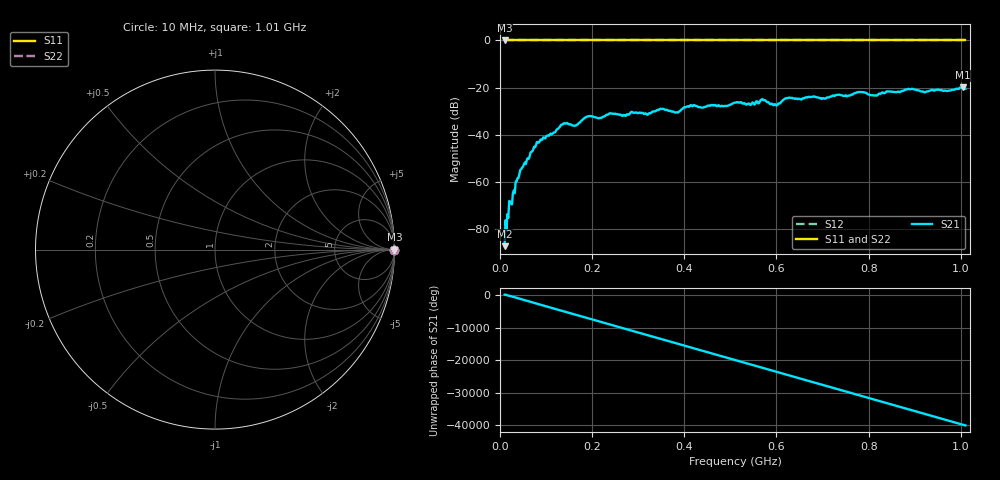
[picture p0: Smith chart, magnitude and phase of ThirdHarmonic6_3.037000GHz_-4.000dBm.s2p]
! 8/17/2025 8:46:59 AM
! C:\ANRITSUVNA\TEMP\TEMP.S2P
! CHANNEL.1
! TR.MEASUREMENT
! RAW.DATA
! RF.CORRECTION.OFF
! AVERAGING.OFF
! IF.BANDWIDTH: 5KHZ
! SWEEPTYPE:  FREQ.SWEEP(Linear)
! Reference Plane Port Info
! PORT:  PORT1  PORT2
! DISTANCE:  0  m  0  m
! TIME:  0  s  0  s
! PHASE.OFFSET:  0  deg.  0  deg.
! LOSS:  0  dB  0  dB
! REF.LOSS:  0  dB  0  dB
! REF.FREQ:  0  Hz  0  Hz
! Power Info
! POWER:  -20  dBm  -20  dBm
! EFF.POWER:  -20  dBm  -20  dBm
! SOURCE.ATTEN:  0  dB  0  dB
! TEST.ATTEN:  0  dB  0  dB
# GHZ S RI R 50.0
! FREQ.GHZ  S11RE  S11IM  S21RE  S21IM  S12RE  S12IM  S22RE  S22IM
!; PortSelection: Port_12
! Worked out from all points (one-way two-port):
!   501 points, 10 MHz to 1.01 GHz, reference 50 ohm
!   highest |S21| = -19.93 dB at 1.004 GHz (marker M1); lowest = -87.3 dB at 10 MHz (marker M2)
!   lowest |S11| = 0.0 dB at 10 MHz (marker M3)
!   |S11| at or under -10 dB: nowhere
!   |S22| runs from 0.0 to 0.0 dB; largest |S21 - S12| = 1.1
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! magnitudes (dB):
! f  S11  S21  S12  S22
! 10 MHz  0.0  -87.3  0.0  0.0
! 38 MHz  0.0  -58.5  0.0  0.0
! 78 MHz  0.0  -44.6  0.0  0.0
! 136 MHz  0.0  -35.6  0.0  0.0
! 164 MHz  0.0  -36.1  0.0  0.0
! 178 MHz  0.0  -33.9  0.0  0.0
! 192 MHz  0.0  -32.1  0.0  0.0
! 322 MHz  0.0  -31.2  0.0  0.0
! 344 MHz  0.0  -29.5  0.0  0.0
! 384 MHz  0.0  -30.5  0.0  0.0
! 416 MHz  0.0  -27.8  0.0  0.0
! 510 MHz  0.0  -26.4  0.0  0.0
! 540 MHz  0.0  -26.8  0.0  0.0
! 570 MHz  0.0  -25.0  0.0  0.0
! 598 MHz  0.0  -27.1  0.0  0.0
! 624 MHz  0.0  -24.5  0.0  0.0
! 678 MHz  0.0  -23.8  0.0  0.0
! 780 MHz  0.0  -21.9  0.0  0.0
! 814 MHz  0.0  -23.4  0.0  0.0
! 844 MHz  0.0  -21.7  0.0  0.0
! 1.004 GHz  0.0  -19.9  0.0  0.0
! 1.01 GHz  0.0  -20.5  0.0  0.0
